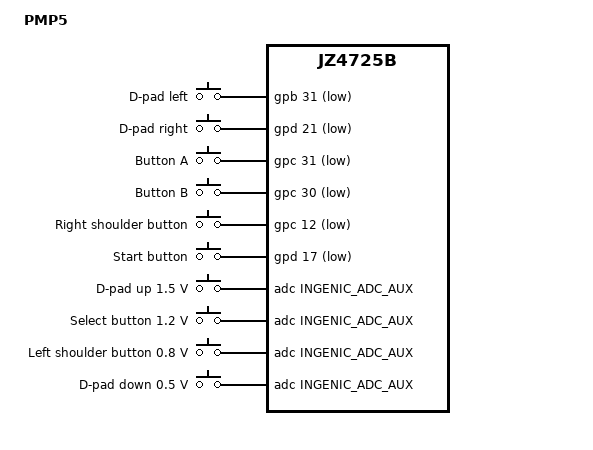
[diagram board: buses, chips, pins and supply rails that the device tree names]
// SPDX-License-Identifier: GPL-2.0
/dts-v1/;

#include "rs90.dts"

/ {
	compatible = "ylm,pmp5", "ingenic,jz4725b";
	model = "PMP5";

	keys@2 {
		compatible = "gpio-keys";
		#address-cells = <1>;
		#size-cells = <0>;

		key@0 {
			label = "D-pad left";
			linux,code = <KEY_LEFT>;
			gpios = <&gpb 31 GPIO_ACTIVE_LOW>;
		};

		key@1 {
			label = "D-pad right";
			linux,code = <KEY_RIGHT>;
			gpios = <&gpd 21 GPIO_ACTIVE_LOW>;
		};

		key@2 {
			label = "Button A";
			linux,code = <KEY_LEFTCTRL>;
			gpios = <&gpc 31 GPIO_ACTIVE_LOW>;
		};

		key@3 {
			label = "Button B";
			linux,code = <KEY_LEFTALT>;
			gpios = <&gpc 30 GPIO_ACTIVE_LOW>;
		};

		key@4 {
			label = "Right shoulder button";
			linux,code = <KEY_BACKSPACE>;
			gpios = <&gpc 12 GPIO_ACTIVE_LOW>;
			debounce-interval = <10>;
		};

		key@5 {
			label = "Start button";
			linux,code = <KEY_ENTER>;
			gpios = <&gpd 17 GPIO_ACTIVE_LOW>;
		};
	};

	keys@3 {
		compatible = "adc-keys";
		io-channels = <&adc INGENIC_ADC_AUX>;
		io-channel-names = "buttons";
		keyup-threshold-microvolt = <2800000>;
		poll-interval = <30>;

		key@0 {
			label = "D-pad up";
			linux,code = <KEY_UP>;
			press-threshold-microvolt = <1500000>;	// Up key pressed voltage: ~1370 mV
		};

		key@1 {
			label = "Select button";
			linux,code = <KEY_ESC>;
			press-threshold-microvolt = <1200000>;	// Select key pressed voltage: ~1060mV
		};

		key@2 {
			label = "Left shoulder button";
			linux,code = <KEY_TAB>;
			press-threshold-microvolt = <800000>;	// L key pressed voltage: ~680mV
		};

		key@3 {
			label = "D-pad down";
			linux,code = <KEY_DOWN>;
			press-threshold-microvolt = <500000>;	// Down key pressed voltage: ~170mV
		};
	};
};

&gpio_keys {
	status = "disabled";
};

&gpio_keys_1 {
	status = "disabled";
};
